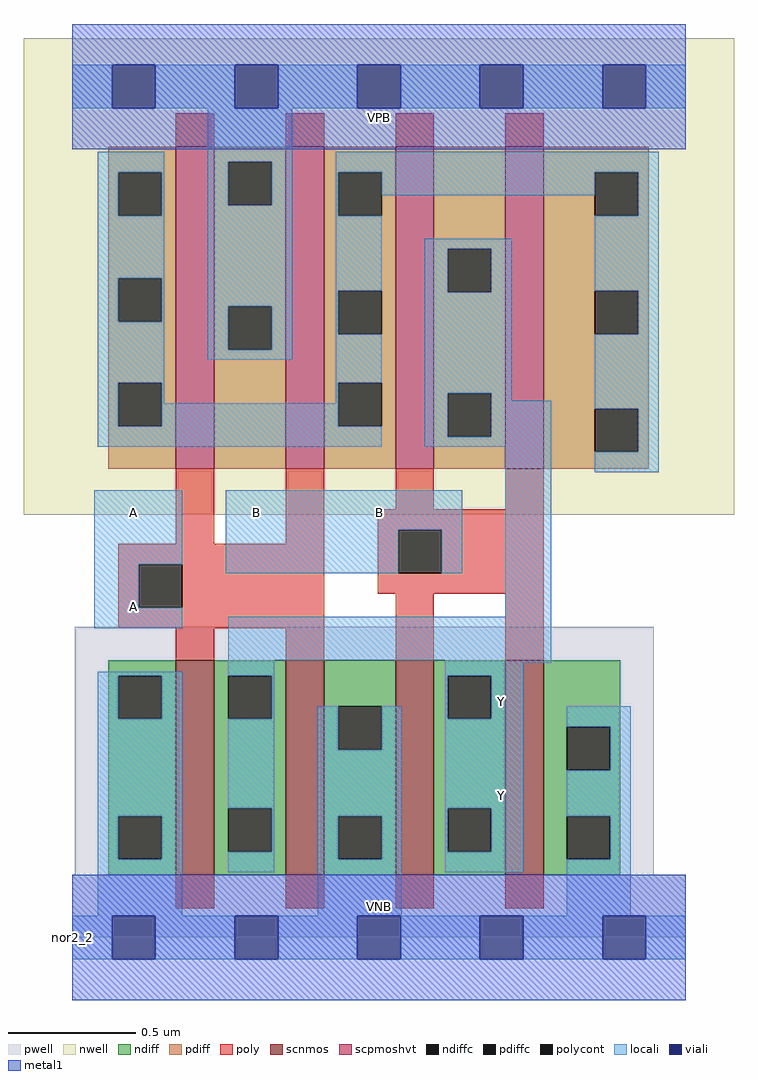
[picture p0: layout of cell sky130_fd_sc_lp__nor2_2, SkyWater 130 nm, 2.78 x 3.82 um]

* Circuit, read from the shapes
.subckt sky130_fd_sc_lp__nor2_2 A B VGND VNB VPB VPWR Y
XM1 Y A VGND VNB sky130_fd_pr__nfet_01v8 w=0.84 l=0.15 m=2
XM2 Y B VGND VNB sky130_fd_pr__nfet_01v8 w=0.84 l=0.15 m=2
XM3 VPWR A n1 VPB sky130_fd_pr__pfet_01v8_hvt w=1.26 l=0.15 m=2
XM4 Y B n1 VPB sky130_fd_pr__pfet_01v8_hvt w=1.26 l=0.15 m=2
.ends

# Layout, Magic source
magic
tech sky130A
magscale 1 2
<< nwell >>
rect -38 331 518 704
<< pwell >>
rect 2 49 455 243
rect 0 0 480 49
<< scnmos >>
rect 81 49 111 217
rect 167 49 197 217
rect 253 49 283 217
rect 339 49 369 217
<< scpmoshvt >>
rect 81 367 111 619
rect 167 367 197 619
rect 253 367 283 619
rect 339 367 369 619
<< ndiff >>
rect 28 205 81 217
rect 28 171 36 205
rect 70 171 81 205
rect 28 95 81 171
rect 28 61 36 95
rect 70 61 81 95
rect 28 49 81 61
rect 111 205 167 217
rect 111 171 122 205
rect 156 171 167 205
rect 111 101 167 171
rect 111 67 122 101
rect 156 67 167 101
rect 111 49 167 67
rect 197 181 253 217
rect 197 147 208 181
rect 242 147 253 181
rect 197 95 253 147
rect 197 61 208 95
rect 242 61 253 95
rect 197 49 253 61
rect 283 205 339 217
rect 283 171 294 205
rect 328 171 339 205
rect 283 101 339 171
rect 283 67 294 101
rect 328 67 339 101
rect 283 49 339 67
rect 369 165 429 217
rect 369 131 387 165
rect 421 131 429 165
rect 369 95 429 131
rect 369 61 387 95
rect 421 61 429 95
rect 369 49 429 61
<< pdiff >>
rect 28 599 81 619
rect 28 565 36 599
rect 70 565 81 599
rect 28 516 81 565
rect 28 482 36 516
rect 70 482 81 516
rect 28 434 81 482
rect 28 400 36 434
rect 70 400 81 434
rect 28 367 81 400
rect 111 607 167 619
rect 111 573 122 607
rect 156 573 167 607
rect 111 494 167 573
rect 111 460 122 494
rect 156 460 167 494
rect 111 367 167 460
rect 197 599 253 619
rect 197 565 208 599
rect 242 565 253 599
rect 197 506 253 565
rect 197 472 208 506
rect 242 472 253 506
rect 197 434 253 472
rect 197 400 208 434
rect 242 400 253 434
rect 197 367 253 400
rect 283 539 339 619
rect 283 505 294 539
rect 328 505 339 539
rect 283 426 339 505
rect 283 392 294 426
rect 328 392 339 426
rect 283 367 339 392
rect 369 599 451 619
rect 369 565 409 599
rect 443 565 451 599
rect 369 506 451 565
rect 369 472 409 506
rect 443 472 451 506
rect 369 414 451 472
rect 369 380 409 414
rect 443 380 451 414
rect 369 367 451 380
<< ndiffc >>
rect 36 171 70 205
rect 36 61 70 95
rect 122 171 156 205
rect 122 67 156 101
rect 208 147 242 181
rect 208 61 242 95
rect 294 171 328 205
rect 294 67 328 101
rect 387 131 421 165
rect 387 61 421 95
<< pdiffc >>
rect 36 565 70 599
rect 36 482 70 516
rect 36 400 70 434
rect 122 573 156 607
rect 122 460 156 494
rect 208 565 242 599
rect 208 472 242 506
rect 208 400 242 434
rect 294 505 328 539
rect 294 392 328 426
rect 409 565 443 599
rect 409 472 443 506
rect 409 380 443 414
<< poly >>
rect 81 619 111 645
rect 167 619 197 645
rect 253 619 283 645
rect 339 619 369 645
rect 81 308 111 367
rect 167 308 197 367
rect 253 335 283 367
rect 339 335 369 367
rect 36 292 197 308
rect 36 258 52 292
rect 86 258 197 292
rect 239 319 369 335
rect 239 285 255 319
rect 289 285 369 319
rect 239 269 369 285
rect 36 242 197 258
rect 81 217 111 242
rect 167 217 197 242
rect 253 217 283 269
rect 339 217 369 269
rect 81 23 111 49
rect 167 23 197 49
rect 253 23 283 49
rect 339 23 369 49
<< polycont >>
rect 52 258 86 292
rect 255 285 289 319
<< locali >>
rect 0 649 31 683
rect 65 649 127 683
rect 161 649 223 683
rect 257 649 319 683
rect 353 649 415 683
rect 449 649 480 683
rect 20 599 72 615
rect 20 565 36 599
rect 70 565 72 599
rect 20 516 72 565
rect 20 482 36 516
rect 70 482 72 516
rect 20 434 72 482
rect 106 607 172 649
rect 106 573 122 607
rect 156 573 172 607
rect 106 494 172 573
rect 106 460 122 494
rect 156 460 172 494
rect 106 452 172 460
rect 206 599 459 615
rect 206 565 208 599
rect 242 581 409 599
rect 206 506 242 565
rect 443 565 459 599
rect 206 472 208 506
rect 20 400 36 434
rect 70 418 72 434
rect 206 434 242 472
rect 206 418 208 434
rect 70 400 208 418
rect 20 384 242 400
rect 276 539 344 547
rect 276 505 294 539
rect 328 505 344 539
rect 276 426 344 505
rect 276 392 294 426
rect 328 420 344 426
rect 409 506 459 565
rect 443 472 459 506
rect 328 392 375 420
rect 276 384 375 392
rect 17 292 86 350
rect 17 258 52 292
rect 120 319 305 350
rect 120 285 255 319
rect 289 285 305 319
rect 17 242 86 258
rect 339 251 375 384
rect 409 414 459 472
rect 443 380 459 414
rect 409 364 459 380
rect 122 217 375 251
rect 20 205 86 208
rect 20 171 36 205
rect 70 171 86 205
rect 20 95 86 171
rect 20 61 36 95
rect 70 61 86 95
rect 20 17 86 61
rect 122 205 158 217
rect 156 171 158 205
rect 292 215 375 217
rect 292 205 353 215
rect 122 101 158 171
rect 156 67 158 101
rect 122 51 158 67
rect 192 147 208 181
rect 242 147 258 181
rect 192 95 258 147
rect 192 61 208 95
rect 242 61 258 95
rect 192 17 258 61
rect 292 171 294 205
rect 328 171 353 205
rect 292 101 353 171
rect 292 67 294 101
rect 328 67 353 101
rect 292 51 353 67
rect 387 165 437 181
rect 421 131 437 165
rect 387 95 437 131
rect 421 61 437 95
rect 387 17 437 61
rect 0 -17 31 17
rect 65 -17 127 17
rect 161 -17 223 17
rect 257 -17 319 17
rect 353 -17 415 17
rect 449 -17 480 17
<< viali >>
rect 31 649 65 683
rect 127 649 161 683
rect 223 649 257 683
rect 319 649 353 683
rect 415 649 449 683
rect 31 -17 65 17
rect 127 -17 161 17
rect 223 -17 257 17
rect 319 -17 353 17
rect 415 -17 449 17
<< metal1 >>
rect 0 683 480 715
rect 0 649 31 683
rect 65 649 127 683
rect 161 649 223 683
rect 257 649 319 683
rect 353 649 415 683
rect 449 649 480 683
rect 0 617 480 649
rect 0 17 480 49
rect 0 -17 31 17
rect 65 -17 127 17
rect 161 -17 223 17
rect 257 -17 319 17
rect 353 -17 415 17
rect 449 -17 480 17
rect 0 -49 480 -17
<< labels >>
flabel pwell s 0 0 480 49 0 FreeSans 200 0 0 0 VNB
port 4 nsew ground bidirectional
flabel nwell s 0 617 480 666 0 FreeSans 200 0 0 0 VPB
port 5 nsew power bidirectional
rlabel comment s 0 0 0 0 4 nor2_2
flabel metal1 s 0 617 480 666 0 FreeSans 340 0 0 0 VPWR
port 6 nsew power bidirectional
flabel metal1 s 0 0 480 49 0 FreeSans 340 0 0 0 VGND
port 3 nsew ground bidirectional
flabel locali s 319 94 353 128 0 FreeSans 340 0 0 0 Y
port 7 nsew signal output
flabel locali s 319 168 353 202 0 FreeSans 340 0 0 0 Y
port 7 nsew signal output
flabel locali s 31 242 65 276 0 FreeSans 340 0 0 0 A
port 1 nsew signal input
flabel locali s 31 316 65 350 0 FreeSans 340 0 0 0 A
port 1 nsew signal input
flabel locali s 127 316 161 350 0 FreeSans 340 0 0 0 B
port 2 nsew signal input
flabel locali s 223 316 257 350 0 FreeSans 340 0 0 0 B
port 2 nsew signal input
<< properties >>
string LEFsite unit
string LEFclass CORE
string FIXED_BBOX 0 0 480 666
string GDS_FILE $PDKPATH/libs.ref/sky130_fd_sc_lp/gds/sky130_fd_sc_lp.gds
string LEFsymmetry X Y R90
string GDS_END 5283224
string GDS_START 5277896
<< end >>
